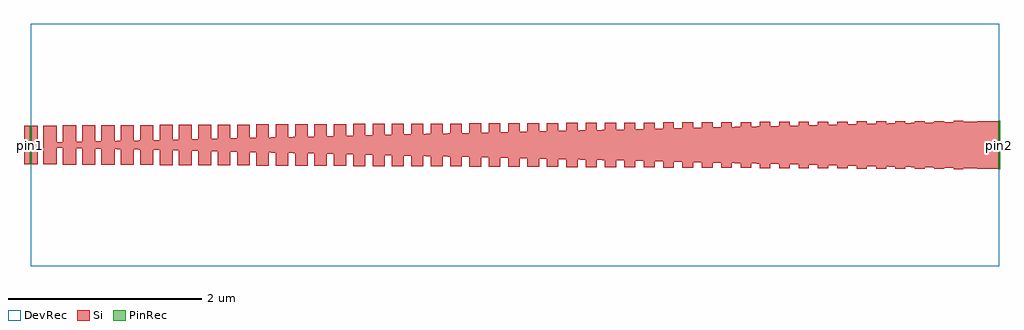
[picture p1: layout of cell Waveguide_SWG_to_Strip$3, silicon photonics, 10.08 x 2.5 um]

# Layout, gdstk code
import gdstk
lib = gdstk.Library(unit=1e-6, precision=1e-09)
def R(c, l, rs):  # rectangles x0, y0, x1, y1
    for r in rs: c.add(gdstk.rectangle(r[:2], r[2:], *l))
def P(c, l, *ps):  # polygons
    for p in ps: c.add(gdstk.Polygon(p, *l))
Si = (1, 0)
PinRec = (1, 10)
DevRec = (68, 0)

waveguide_swg_to_strip_3 = lib.new_cell('Waveguide_SWG_to_Strip$3')
R(waveguide_swg_to_strip_3, Si, [(9.53,-0.248,9.631,0.248), (9.33,-0.247,9.432,0.247), (9.13,-0.246,9.232,0.246), (8.93,-0.245,9.033,0.245), (8.73,-0.244,8.834,0.244), (8.53,-0.243,8.635,0.243), (8.33,-0.242,8.436,0.242), (8.13,-0.241,8.237,0.241), (7.93,-0.24,8.037,0.24), (7.73,-0.239,7.838,0.239), (7.53,-0.238,7.639,0.238), (7.33,-0.237,7.44,0.237), (7.13,-0.236,7.241,0.236), (6.93,-0.235,7.041,0.235), (6.73,-0.234,6.842,0.234), (6.53,-0.233,6.643,0.233), (6.33,-0.232,6.444,0.232), (6.13,-0.231,6.245,0.231), (5.93,-0.23,6.046,0.23), (5.73,-0.229,5.846,0.229), (5.53,-0.228,5.647,0.228), (5.33,-0.227,5.448,0.227), (5.13,-0.226,5.249,0.226), (4.93,-0.225,5.05,0.225), (4.73,-0.224,4.85,0.224), (4.53,-0.223,4.651,0.223), (4.33,-0.222,4.452,0.222), (4.13,-0.221,4.253,0.221), (3.93,-0.22,4.054,0.22), (3.73,-0.219,3.854,0.219), (3.53,-0.218,3.655,0.218), (3.33,-0.217,3.456,0.217), (3.13,-0.216,3.257,0.216), (2.93,-0.215,3.058,0.215), (2.73,-0.214,2.859,0.214), (2.53,-0.213,2.659,0.213), (2.33,-0.212,2.46,0.212), (2.13,-0.211,2.261,0.211), (1.93,-0.21,2.062,0.21), (1.73,-0.209,1.863,0.209), (1.53,-0.208,1.663,0.208), (1.33,-0.207,1.464,0.207), (1.13,-0.206,1.265,0.206), (0.93,-0.205,1.066,0.205), (0.73,-0.204,0.867,0.204), (0.53,-0.203,0.668,0.203), (0.33,-0.202,0.468,0.202), (0.13,-0.201,0.269,0.201), (-0.07,-0.2,0.07,0.2)])
P(waveguide_swg_to_strip_3, Si, [(10,-0.25),(0.204,-0.03),(0.204,0.03),(10,0.25)])
R(waveguide_swg_to_strip_3, DevRec, [(0,-1.25,10,1.25)])
waveguide_swg_to_strip_3.add(gdstk.FlexPath([(0.01,0),(-0.01,0)], 0.4, ends="flush", simple_path=True, layer=1, datatype=10))  # PinRec
waveguide_swg_to_strip_3.add(gdstk.FlexPath([(9.99,0),(10.01,0)], 0.5, ends="flush", simple_path=True, layer=1, datatype=10))  # PinRec
waveguide_swg_to_strip_3.add(gdstk.Label('pin1', (0,0), layer=1, texttype=10))
waveguide_swg_to_strip_3.add(gdstk.Label('pin2', (10,0), layer=1, texttype=10))

lib.write_gds('Waveguide_SWG_to_Strip_3.gds')
